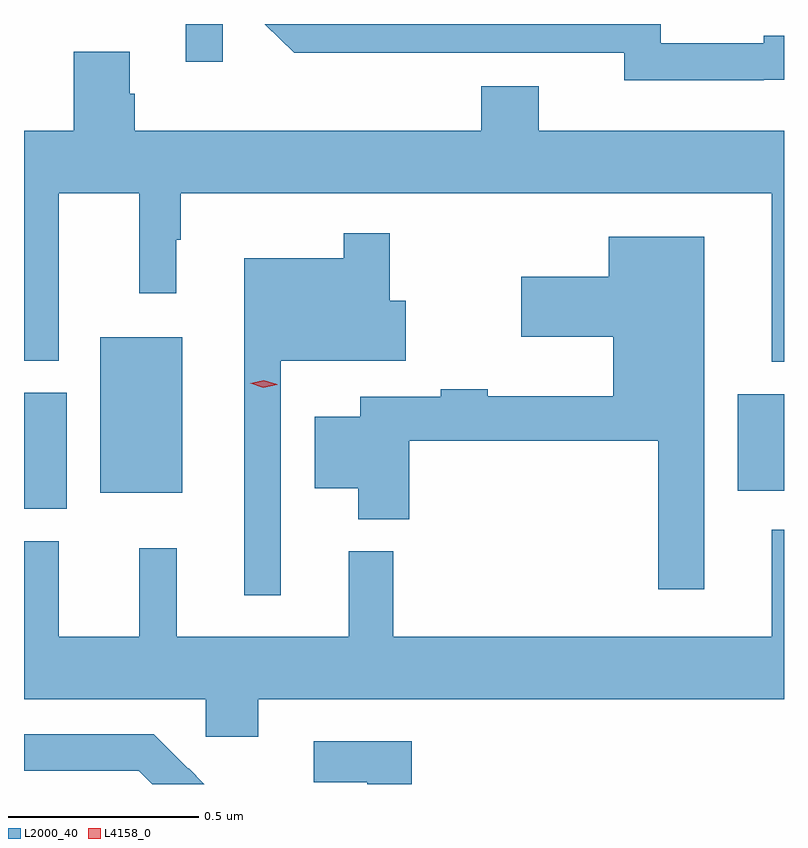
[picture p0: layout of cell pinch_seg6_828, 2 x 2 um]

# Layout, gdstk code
import gdstk
lib = gdstk.Library(unit=1e-6, precision=1e-09)
def R(c, l, rs):  # rectangles x0, y0, x1, y1
    for r in rs: c.add(gdstk.rectangle(r[:2], r[2:], *l))
def P(c, l, *ps):  # polygons
    for p in ps: c.add(gdstk.Polygon(p, *l))
L2000_40 = (2000, 40)
L4158_0 = (4158, 0)

pinch_seg6_828 = lib.new_cell('pinch_seg6_828')
R(pinch_seg6_828, L2000_40, [(168.041,993.125,168.154,993.43), (168.242,993.167,168.457,993.577), (169.919,993.173,170.041,993.427), (168.467,994.302,168.564,994.401)])
P(pinch_seg6_828, L2000_40, [(169.988,994.254),(170.041,994.254),(170.041,994.37),(169.988,994.37),(169.988,994.35),(169.716,994.35),(169.716,994.401),(168.675,994.401),(168.752,994.325),(169.16,994.325),(169.16,994.326),(169.62,994.326),(169.62,994.253),(169.988,994.253)],
  [(170.041,994.12),(169.396,994.12),(169.396,994.237),(169.244,994.237),(169.244,994.12),(168.332,994.12),(168.332,994.218),(168.319,994.218),(168.319,994.328),(168.172,994.328),(168.172,994.12),(168.041,994.12),(168.041,993.515),(168.133,993.515),(168.133,993.956),(168.344,993.956),(168.344,993.693),(168.442,993.693),(168.442,993.833),(168.454,993.833),(168.454,993.956),(170.009,993.956),(170.009,993.512),(170.041,993.512)],
  [(168.717,993.515),(169.045,993.515),(169.045,993.673),(169.003,993.673),(169.003,993.85),(168.882,993.85),(168.882,993.784),(168.62,993.784),(168.62,992.898),(168.717,992.898)],
  [(169.831,993.841),(169.58,993.841),(169.58,993.736),(169.35,993.736),(169.35,993.578),(169.592,993.578),(169.592,993.421),(169.262,993.421),(169.262,993.44),(169.138,993.44),(169.138,993.42),(168.926,993.42),(168.926,993.367),(168.806,993.367),(168.806,993.179),(168.92,993.179),(168.92,993.098),(169.055,993.098),(169.055,993.304),(169.71,993.304),(169.71,992.913),(169.831,992.913)],
  [(168.658,992.624),(170.041,992.624),(170.041,993.07),(170.009,993.07),(170.009,992.788),(169.013,992.788),(169.013,993.013),(168.896,993.013),(168.896,992.788),(168.443,992.788),(168.443,993.022),(168.344,993.022),(168.344,992.788),(168.133,992.788),(168.133,993.04),(168.041,993.04),(168.041,992.624),(168.519,992.624),(168.519,992.526),(168.658,992.526)],
  [(168.474,992.442),(168.473,992.441),(168.382,992.532),(168.041,992.532),(168.041,992.436),(168.343,992.436),(168.378,992.401),(168.515,992.401)],
  [(169.061,992.514),(168.804,992.514),(168.804,992.406),(168.944,992.406),(168.944,992.401),(169.061,992.401)])
P(pinch_seg6_828, L4158_0, [(168.671,993.444),(168.636,993.456),(168.636,993.456),(168.636,993.456),(168.672,993.464),(168.707,993.453),(168.707,993.452),(168.707,993.452)])

lib.write_gds('pinch_seg6_828.gds')
